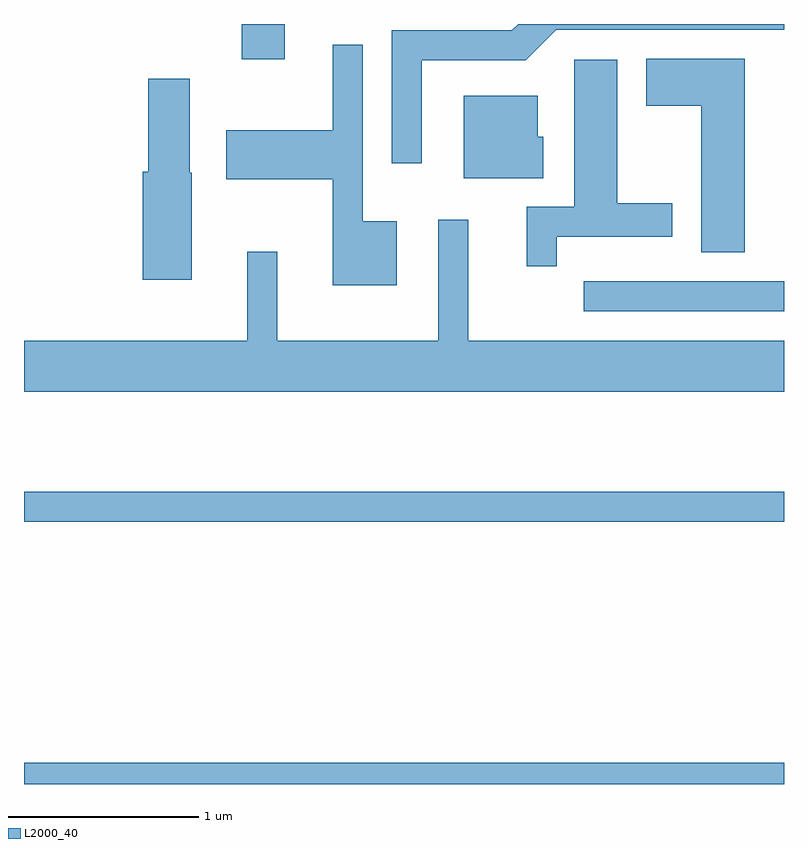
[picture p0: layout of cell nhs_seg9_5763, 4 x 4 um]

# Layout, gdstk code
import gdstk
lib = gdstk.Library(unit=1e-6, precision=1e-09)
def R(c, l, rs):  # rectangles x0, y0, x1, y1
    for r in rs: c.add(gdstk.rectangle(r[:2], r[2:], *l))
def P(c, l, *ps):  # polygons
    for p in ps: c.add(gdstk.Polygon(p, *l))
L2000_40 = (2000, 40)

nhs_seg9_5763 = lib.new_cell('nhs_seg9_5763')
R(nhs_seg9_5763, L2000_40, [(355.611,1976.432,359.611,1976.544), (355.611,1977.811,359.611,1977.969), (358.558,1978.921,359.611,1979.079), (356.756,1980.246,356.984,1980.432)])
P(nhs_seg9_5763, L2000_40, [(357.704,1980.241),(358.252,1980.241),(358.412,1980.401),(359.611,1980.401),(359.611,1980.432),(358.212,1980.432),(358.179,1980.399),(357.546,1980.399),(357.546,1979.698),(357.704,1979.698)],
  [(357.574,1979.394),(357.394,1979.394),(357.394,1980.323),(357.236,1980.323),(357.236,1979.874),(356.676,1979.874),(356.676,1979.616),(357.236,1979.616),(357.236,1979.056),(357.574,1979.056)],
  [(359.404,1980.249),(358.886,1980.249),(358.886,1980.001),(359.176,1980.001),(359.176,1979.231),(359.404,1979.231)],
  [(358.414,1979.311),(359.024,1979.311),(359.024,1979.489),(358.734,1979.489),(358.734,1980.244),(358.506,1980.244),(358.506,1979.469),(358.256,1979.469),(358.256,1979.158),(358.414,1979.158)],
  [(356.494,1979.65),(356.484,1979.65),(356.484,1980.144),(356.266,1980.144),(356.266,1979.654),(356.236,1979.654),(356.236,1979.086),(356.494,1979.086)],
  [(358.344,1979.839),(358.314,1979.839),(358.314,1980.054),(357.926,1980.054),(357.926,1979.621),(358.344,1979.621)],
  [(359.611,1978.764),(357.949,1978.764),(357.949,1979.403),(357.791,1979.403),(357.791,1978.764),(356.944,1978.764),(356.944,1979.233),(356.786,1979.233),(356.786,1978.764),(355.611,1978.764),(355.611,1978.496),(359.611,1978.496)])

lib.write_gds('nhs_seg9_5763.gds')
